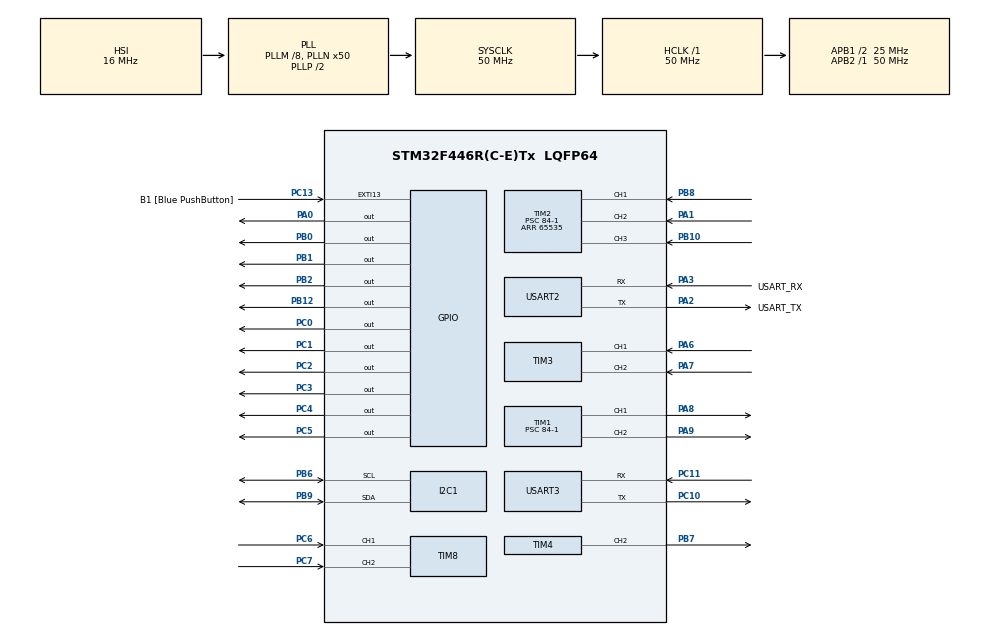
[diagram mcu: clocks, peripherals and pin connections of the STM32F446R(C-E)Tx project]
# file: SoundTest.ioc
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Mcu.Family=STM32F4
Mcu.Name=STM32F446R(C-E)Tx
Mcu.Package=LQFP64
NVIC.PriorityGroup=NVIC_PRIORITYGROUP_0
NVIC.TIM1_BRK_TIM9_IRQn=true\:0\:0\:false\:false\:true\:true\:true\:true
NVIC.TIM1_UP_TIM10_IRQn=true\:0\:0\:false\:false\:true\:true\:true\:true
NVIC.TIM2_IRQn=true\:0\:0\:false\:false\:true\:true\:true\:true
NVIC.USART2_IRQn=true\:0\:0\:false\:false\:true\:true\:true\:true
NVIC.USART3_IRQn=true\:0\:0\:false\:false\:true\:true\:true\:true
PA0-WKUP.Signal=GPIO_Output
PA1.Signal=S_TIM2_CH2
PA13.GPIO_Label=TMS
PA13.Mode=Serial_Wire
PA13.Signal=SYS_JTMS-SWDIO
PA14.GPIO_Label=TCK
PA14.Mode=Serial_Wire
PA14.Signal=SYS_JTCK-SWCLK
PA2.GPIO_Label=USART_TX
PA2.Mode=Asynchronous
PA2.Signal=USART2_TX
PA3.GPIO_Label=USART_RX
PA3.Mode=Asynchronous
PA3.Signal=USART2_RX
PA6.Signal=S_TIM3_CH1
PA7.Signal=S_TIM3_CH2
PA8.Signal=S_TIM1_CH1
PA9.Signal=S_TIM1_CH2
PB0.Signal=GPIO_Output
PB1.Signal=GPIO_Output
PB10.Signal=S_TIM2_CH3
PB12.Signal=GPIO_Output
PB2.Signal=GPIO_Output
PB3.GPIO_Label=SWO
PB3.Signal=SYS_JTDO-SWO
PB6.Mode=I2C
PB6.Signal=I2C1_SCL
PB7.Signal=S_TIM4_CH2
PB8.Signal=S_TIM2_CH1_ETR
PB9.Mode=I2C
PB9.Signal=I2C1_SDA
PC0.Signal=GPIO_Output
PC1.Signal=GPIO_Output
PC10.Mode=Asynchronous
PC10.Signal=USART3_TX
PC11.Mode=Asynchronous
PC11.Signal=USART3_RX
PC13.GPIO_Label=B1 [Blue PushButton]
PC13.GPIO_ModeDefaultEXTI=GPIO_MODE_IT_FALLING
PC13.Signal=GPXTI13
PC14-OSC32_IN.Mode=LSE-External-Oscillator
PC14-OSC32_IN.Signal=RCC_OSC32_IN
PC15-OSC32_OUT.Mode=LSE-External-Oscillator
PC15-OSC32_OUT.Signal=RCC_OSC32_OUT
PC2.Signal=GPIO_Output
PC3.Signal=GPIO_Output
PC4.Signal=GPIO_Output
PC5.Signal=GPIO_Output
PC6.Signal=S_TIM8_CH1
PC7.Signal=S_TIM8_CH2
PH0-OSC_IN.Mode=HSE-External-Oscillator
PH0-OSC_IN.Signal=RCC_OSC_IN
PH1-OSC_OUT.Mode=HSE-External-Oscillator
PH1-OSC_OUT.Signal=RCC_OSC_OUT
ProjectManager.HeapSize=0x200
ProjectManager.StackSize=0x400
ProjectManager.TargetToolchain=STM32CubeIDE
RCC.48MHZClocksFreq_Value=84000000
RCC.AHBFreq_Value=50000000
RCC.APB1CLKDivider=RCC_HCLK_DIV2
RCC.APB1Freq_Value=25000000
RCC.APB1TimFreq_Value=50000000
RCC.APB2Freq_Value=50000000
RCC.APB2TimFreq_Value=50000000
RCC.CortexFreq_Value=50000000
RCC.FLatency-AdvancedSettings=FLASH_LATENCY_1
RCC.HCLKFreq_Value=50000000
RCC.HSE_VALUE=8000000
RCC.HSI_VALUE=16000000
RCC.PLLM=8
RCC.PLLN=50
RCC.SYSCLKFreq_VALUE=50000000
RCC.SYSCLKSource=RCC_SYSCLKSOURCE_PLLCLK
RCC.USBFreq_Value=50000000
RCC.VCOOutputFreq_Value=100000000
SH.S_TIM1_CH1.0=TIM1_CH1,PWM Generation1 CH1
SH.S_TIM1_CH2.0=TIM1_CH2,PWM Generation2 CH2
SH.S_TIM2_CH1_ETR.0=TIM2_CH1,Input_Capture1_from_TI1
SH.S_TIM2_CH2.0=TIM2_CH2,Input_Capture2_from_TI2
SH.S_TIM2_CH3.0=TIM2_CH3,Input_Capture3_from_TI3
SH.S_TIM3_CH1.0=TIM3_CH1,Encoder_Interface
SH.S_TIM3_CH2.0=TIM3_CH2,Encoder_Interface
SH.S_TIM4_CH2.0=TIM4_CH2,PWM Generation2 CH2
SH.S_TIM8_CH1.0=TIM8_CH1,Encoder_Interface
SH.S_TIM8_CH2.0=TIM8_CH2,Encoder_Interface
TIM1.Channel-PWM\ Generation1\ CH1=TIM_CHANNEL_1
TIM1.Channel-PWM\ Generation2\ CH2=TIM_CHANNEL_2
TIM1.Period=999
TIM1.Prescaler=84-1
TIM2.Channel-Input_Capture1_from_TI1=TIM_CHANNEL_1
TIM2.Channel-Input_Capture2_from_TI2=TIM_CHANNEL_2
TIM2.Channel-Input_Capture3_from_TI3=TIM_CHANNEL_3
TIM2.Period=65535
TIM2.Prescaler=84-1
TIM4.Channel-PWM\ Generation2\ CH2=TIM_CHANNEL_2
TIM4.Prescaler=84-1
USART2.VirtualMode=VM_ASYNC
USART3.VirtualMode=VM_ASYNC
VP_TIM1_VS_ClockSourceINT.Mode=Internal
VP_TIM2_VS_ClockSourceINT.Mode=Internal
board=NUCLEO-F446RE

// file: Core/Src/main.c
/* USER CODE BEGIN Header */
/**
  ******************************************************************************
  * @file           : main.c
  * @brief          : Main program body
  ******************************************************************************
  * @attention
  *
  * Copyright (c) 2025 STMicroelectronics.
  * All rights reserved.
  *
  * This software is licensed under terms that can be found in the LICENSE file
  * in the root directory of this software component.
  * If no LICENSE file comes with this software, it is provided AS-IS.
  *
  ******************************************************************************
  */
/* USER CODE END Header */
#include "main.h"

/* USER CODE BEGIN Includes */
#include <stdio.h>    // printf, sprintf 사용을 위해
#include <stdarg.h>   // 가변 인자 사용을 위해
#include <math.h>
//#include "ESP8266_HAL.h"
#include <string.h>   // strlen 사용을 위해
#include "stm32f4xx_hal.h" // HAL 함수 사용을 위해

/* USER CODE END Includes */

/* USER CODE BEGIN PD */
// HC-SR04 핀 정의
#define TRIG_PIN    GPIO_PIN_0
#define TRIG_PORT    GPIOC
#define ECHO_PIN    GPIO_PIN_1
#define ECHO_PORT    GPIOA

#define TRIG_PIN1    GPIO_PIN_1
#define TRIG_PORT1    GPIOC
#define ECHO_PIN1    GPIO_PIN_8
#define ECHO_PORT1    GPIOB

#define TRIG_PIN2    GPIO_PIN_2
#define TRIG_PORT2    GPIOC
#define ECHO_PIN2    GPIO_PIN_10
#define ECHO_PORT2    GPIOB

uint8_t rx_data[100];

#define WIZFI360_MAX_RESPONSE_SIZE 512
uint8_t wizfi_rx_buffer[WIZFI360_MAX_RESPONSE_SIZE];

// 클럭 설정 (SystemClock_Config 기준 HCLK = 84MHz)
// 1초 = 84,000,000 사이클 -> 1us = 84 사이클
#define DWT_DELAY_UNIT (HAL_RCC_GetHCLKFreq() / 1000000)

// HC-SR04 관련 상수
#define SOUND_SPEED_CM_PER_US 0.0343 // 음속: 343m/s = 0.0343 cm/us
#define MAX_TIMEOUT_US 30000 // 30ms (HC-SR04 최대 측정 거리 고려)

// 모터 1 (A) - ENA: TIM1_CH1 (PA8)
// 방향 핀
#define M1_IN1_PORT GPIOB
#define M1_IN1_PIN  GPIO_PIN_0
#define M1_IN2_PORT GPIOB
#define M1_IN2_PIN  GPIO_PIN_1

// 모터 2 (B) - ENB: TIM1_CH2 (PA9)
// 방향 핀
#define M2_IN1_PORT GPIOB
#define M2_IN1_PIN  GPIO_PIN_2
#define M2_IN2_PORT GPIOB
#define M2_IN2_PIN  GPIO_PIN_12

// 모터 3 (A) - ENA: TIM4_CH1 (Pb6)
#define M3_IN1_PORT GPIOC
#define M3_IN1_PIN  GPIO_PIN_3
#define M3_IN2_PORT GPIOC
#define M3_IN2_PIN  GPIO_PIN_4

// 모터 ID 및 방향 정의
#define MOTOR_A     1
#define MOTOR_B     2
#define MOTOR_C     3

#define FORWARD     1
#define BACKWARD    2
#define RIGHT    3 // 우회전
#define LEFT      4 // 좌회전 (필요시)
#define STOP        0

// PWM 최대값 (CubeMX TIM1 ARR 설정에 따라 변경될 수 있음. 여기서는 1000 가정)
#define PWM_MAX_VALUE 1000

// 벽 감지 임계 거리 (센티미터 단위)
#define WALL_DISTANCE_THRESHOLD 30.0f
// 직진 속도 및 회전 속도 (PWM 값)
#define BASE_SPEED          300
#define TURN_SPEED          300
// 회전 시간 상수 (90도 회전에 필요한 시간, 보정 필요)
#define TURN_90_TIME_MS     3200 // (모터와 바퀴에 따라 크게 달라짐)
// 유턴 시 전진/후진 거리 시간 (본체 폭만큼 이동하기 위한 시간, 보정 필요)
#define BODY_MOVE_TIME_MS   800 // 예시 값 (본체 폭에 따라 조절)

#define MPU6050_ADDR  (0x68 << 1)
#define PWR_MGMT_1    0x6B
#define ACCEL_XOUT_H  0x3B

//Odometry 상수
#define WHEEL_RADIUS_MM     30      // 바퀴 반지름 (mm)
#define ROBOT_AXLE_LENGTH_MM 160    // 바퀴 축 간 거리 (mm)
#define ENCODER_RESOLUTION  1000    // 엔코더 해상도 (펄스 수)
#define TIMER_PERIOD        65536   // TIM3/TIM8 주기

/* USER CODE END PD */

I2C_HandleTypeDef hi2c1;

TIM_HandleTypeDef htim1;
TIM_HandleTypeDef htim2;
TIM_HandleTypeDef htim3;
TIM_HandleTypeDef htim4;
TIM_HandleTypeDef htim8;

UART_HandleTypeDef huart2;
UART_HandleTypeDef huart3;

/* USER CODE BEGIN PV */
TIM_HandleTypeDef htim2;
//2D 맵핑용 위치변수
float g_robot_x = 0.0f;     // 현재의 X 좌표
float g_robot_y = 0.0f;     // 현재의 Y 좌표
float g_robot_yaw = 0.0f;   // 현재의 방향 각도 (단위: 도 Degree)

// MQTT control 상태 변수
int g_powerOn = -1;          // 0 = OFF, 1 = ON
int g_fanSpeed = -1;         // 0~3
int g_modeManual = -1;       // 0 = AUTO, 1 = MANUAL
char g_direction[8] = "NULL";  // "FWD","BACK","LEFT","RIGHT","STOP"

// MQTT 수신 라인 버퍼
char mqtt_rx_buf[256];
int  mqtt_rx_len = 0;

/* USER CODE END PV */

void SystemClock_Config(void);
static void MX_GPIO_Init(void);
static void MX_USART2_UART_Init(void);
static void MX_TIM2_Init(void);
static void MX_TIM1_Init(void);
static void MX_TIM4_Init(void);
static void MX_I2C1_Init(void);
static void MX_USART3_UART_Init(void);
static void MX_TIM3_Init(void);
static void MX_TIM8_Init(void);
/* USER CODE BEGIN PFP */
void DWT_Init(void);
void DWT_Delay_us(uint32_t us);
float HCSR04_Read(GPIO_TypeDef *trigPort, uint16_t trigPin,
                  GPIO_TypeDef *echoPort, uint16_t echoPin);
void UART_Printf(const char *format, ...);

uint8_t rx[512];

/* USER CODE END PFP */

/* USER CODE BEGIN 0 */

/**
  * @brief DWT (Data Watchpoint and Trace) 초기화 함수
  * @retval None
  */

int _write(int file, char *ptr, int len)   // UART_Printf를 위한 retarget
{
    HAL_UART_Transmit(&huart3, (uint8_t*)ptr, len, 100);
    return len;
}

void DWT_Init(void) {
    // TRCENA 활성화 (DWT 활성화)
    CoreDebug->DEMCR |= CoreDebug_DEMCR_TRCENA_Msk;
    // CYCCNT 카운터 초기화
    DWT->CYCCNT = 0;
    // CYCCNT 카운터 활성화
    DWT->CTRL |= DWT_CTRL_CYCCNTENA_Msk;
}

/**
  * @brief DWT 기반 마이크로초 지연 함수
  * @param us: 지연할 마이크로초
  * @retval None
  */
void DWT_Delay_us(uint32_t us) {
    uint32_t start_tick = DWT->CYCCNT;
    uint32_t delay_ticks = us * DWT_DELAY_UNIT;
    while ((DWT->CYCCNT - start_tick) < delay_ticks);
}

/**
  * @brief UART2를 이용한 printf 함수
  * @param format: 출력 형식 문자열
  * @retval None
  */
void UART_Printf(const char *format, ...) {
    char str[100];
    va_list args;
    va_start(args, format);
    vsprintf(str, format, args);
    va_end(args);
    // UART 전송 (Blocking 모드)
    HAL_UART_Transmit(&huart2, (uint8_t *)str, strlen(str), HAL_MAX_DELAY);
}

/**
  * @brief HC-SR04 거리 측정 함수
  * @retval 측정 거리 (cm), 실패 시 -1.0
  */
float HCSR04_Read(GPIO_TypeDef *trigPort, uint16_t trigPin,
                  GPIO_TypeDef *echoPort, uint16_t echoPin)
{
    uint32_t start_time, end_time, duration_cycles;

    HAL_GPIO_WritePin(trigPort, trigPin, GPIO_PIN_RESET);
    DWT_Delay_us(2);

    HAL_GPIO_WritePin(trigPort, trigPin, GPIO_PIN_SET);
    DWT_Delay_us(10);
    HAL_GPIO_WritePin(trigPort, trigPin, GPIO_PIN_RESET);

    start_time = DWT->CYCCNT;
    while (HAL_GPIO_ReadPin(echoPort, echoPin) == GPIO_PIN_RESET) {
        if ((DWT->CYCCNT - start_time) > (MAX_TIMEOUT_US * DWT_DELAY_UNIT))
            return -1.0f;
    }

    start_time = DWT->CYCCNT;
    while (HAL_GPIO_ReadPin(echoPort, echoPin) == GPIO_PIN_SET) {
        if ((DWT->CYCCNT - start_time) > (MAX_TIMEOUT_US * DWT_DELAY_UNIT))
            return -1.0f;
    }

    end_time = DWT->CYCCNT;
    duration_cycles = end_time - start_time;

    float distance = ((float)duration_cycles / (float)DWT_DELAY_UNIT)
                     * SOUND_SPEED_CM_PER_US / 2.0f;

    return distance;
}

/* 안전한 방향 제어 함수 */
void set_motor_direction(uint8_t motor_id, uint8_t direction)
{
    GPIO_TypeDef *in1_port = NULL, *in2_port = NULL;
    uint16_t in1_pin = 0, in2_pin = 0;

    if (motor_id == MOTOR_A) {
        in1_port = M1_IN1_PORT;
        in2_port = M1_IN2_PORT;
        in1_pin  = M1_IN1_PIN;
        in2_pin  = M1_IN2_PIN;
    } else if (motor_id == MOTOR_B) {
        in1_port = M2_IN1_PORT;
        in2_port = M2_IN2_PORT;
        in1_pin  = M2_IN1_PIN;
        in2_pin  = M2_IN2_PIN;
    }else if (motor_id == MOTOR_C) {
        in1_port = M3_IN1_PORT;
        in2_port = M3_IN2_PORT;
        in1_pin  = M3_IN1_PIN;
        in2_pin  = M3_IN2_PIN;
    }
    else {
        return;
    }

    if (direction == FORWARD) {
        HAL_GPIO_WritePin(in1_port, in1_pin, GPIO_PIN_SET);
        HAL_GPIO_WritePin(in2_port, in2_pin, GPIO_PIN_RESET);

    } else if (direction == BACKWARD) {
        HAL_GPIO_WritePin(in1_port, in1_pin, GPIO_PIN_RESET);
        HAL_GPIO_WritePin(in2_port, in2_pin, GPIO_PIN_SET);
    }
    else if (direction == BACKWARD) {
           HAL_GPIO_WritePin(in1_port, in1_pin, GPIO_PIN_RESET);
           HAL_GPIO_WritePin(in2_port, in2_pin, GPIO_PIN_SET);
       }
    else { // STOP (coast)
        HAL_GPIO_WritePin(in1_port, in1_pin, GPIO_PIN_RESET);
        HAL_GPIO_WritePin(in2_port, in2_pin, GPIO_PIN_RESET);
    }
}

/* 속도 설정은 그대로 사용하되 PWM_MAX와 TIM1 ARR 일치 확인 필요 */
void set_motor_speed(uint8_t motor_id, uint16_t speed)
{
    if (speed > PWM_MAX_VALUE) speed = PWM_MAX_VALUE;

    if (motor_id == MOTOR_A) {
        __HAL_TIM_SET_COMPARE(&htim1, TIM_CHANNEL_1, speed);
    } else if (motor_id == MOTOR_B) {
        __HAL_TIM_SET_COMPARE(&htim1, TIM_CHANNEL_2, speed);
    } else if (motor_id == MOTOR_C) {
        __HAL_TIM_SET_COMPARE(&htim4, TIM_CHANNEL_1, speed);
    }

}

/* --- 모터 제어 유틸 함수 추가 --- */
void stop_all_motors(void)
{
    set_motor_speed(MOTOR_A, 0);
    set_motor_speed(MOTOR_B, 0);
    set_motor_speed(MOTOR_C, 0);

    set_motor_direction(MOTOR_A, STOP);
    set_motor_direction(MOTOR_B, STOP);
    set_motor_direction(MOTOR_C, STOP);
}

void move_forward_pwm(uint16_t pwm)
{
    set_motor_direction(MOTOR_A, FORWARD);
    set_motor_direction(MOTOR_B, FORWARD);
    set_motor_speed(MOTOR_A, pwm);
    set_motor_speed(MOTOR_B, pwm);
}

void move_backward_pwm(uint16_t pwm)
{
    set_motor_direction(MOTOR_A, BACKWARD);
    set_motor_direction(MOTOR_B, BACKWARD);
    set_motor_speed(MOTOR_A, pwm);
    set_motor_speed(MOTOR_B, pwm);
}

void rotate_right_inplace(uint16_t pwm) // 오른쪽으로 제자리 회전 (좌/우 휠 반대방향)
{
    // 왼쪽 앞바퀴 전진, 오른쪽 바퀴 후진 -> 우회전
    set_motor_direction(MOTOR_A, FORWARD);   // 왼쪽
    set_motor_direction(MOTOR_B, BACKWARD);  // 오른쪽
    set_motor_speed(MOTOR_A, pwm);
    set_motor_speed(MOTOR_B, pwm);
}

void rotate_left_inplace(uint16_t pwm) // 왼쪽으로 제자리 회전
{
    set_motor_direction(MOTOR_A, BACKWARD);
    set_motor_direction(MOTOR_B, FORWARD);
    set_motor_speed(MOTOR_A, pwm);
    set_motor_speed(MOTOR_B, pwm);
}

/* 간단한 유턴: 제자리 180도 회전 (두번 90도) */
void perform_u_turn(void)
{
    // 180도: 두 번 90도 회전
    rotate_right_inplace(TURN_SPEED);
    HAL_Delay(TURN_90_TIME_MS);
    stop_all_motors();
    HAL_Delay(100);

    rotate_right_inplace(TURN_SPEED);
    HAL_Delay(TURN_90_TIME_MS);
    stop_all_motors();
    HAL_Delay(100);
}

/* 장애물 발견 시 회피 시퀀스:
   1) 정지
   2) 백업(짧게)
   3) 제자리 회전 90도 (우회전)
   4) 전진 (몸체 폭 만큼)
   5) 유턴(180)으로 라인 닫기(옵션)
*/
void R_avoidance_sequence(void)
{
    // 1) 정지
    stop_all_motors();
    HAL_Delay(50);

    // 2) 백업
    move_backward_pwm(BASE_SPEED);
    HAL_Delay(300); // 300ms 뒤로 (조정 필요)
    stop_all_motors();
    HAL_Delay(50);

    // 3) 제자리 우회전 90도
    rotate_right_inplace(TURN_SPEED);
    HAL_Delay(TURN_90_TIME_MS);
    stop_all_motors();
    HAL_Delay(50);

    // 4) 전진으로 통과
    move_forward_pwm(BASE_SPEED);
    HAL_Delay(BODY_MOVE_TIME_MS);
    stop_all_motors();
    HAL_Delay(50);

    // 3) 제자리 우회전 90도
        rotate_right_inplace(TURN_SPEED);
        HAL_Delay(TURN_90_TIME_MS);
        stop_all_motors();
        HAL_Delay(50);

}

void L_avoidance_sequence(void)
{
    // 1) 정지
    stop_all_motors();
    HAL_Delay(50);

    // 2) 백업
    move_backward_pwm(BASE_SPEED);
    HAL_Delay(300); // 300ms 뒤로 (조정 필요)
    stop_all_motors();
    HAL_Delay(50);

    // 3) 제자리 좌회전 90도
    rotate_left_inplace(TURN_SPEED);
    HAL_Delay(TURN_90_TIME_MS);
    stop_all_motors();
    HAL_Delay(50);

    // 4) 전진으로 통과
    move_forward_pwm(BASE_SPEED);
    HAL_Delay(BODY_MOVE_TIME_MS);
    stop_all_motors();
    HAL_Delay(50);

    // 3) 제자리 좌회전 90도
        rotate_left_inplace(TURN_SPEED);
        HAL_Delay(TURN_90_TIME_MS);
        stop_all_motors();
        HAL_Delay(50);

}

/**
  * @brief 모터 제어를 위해 필요한 초기 설정을 수행합니다.
  * @retval None
  */
void motor_control_init(void)
{
    // 1. PWM 출력 시작 (PA8: ENA, PA9: ENB)
    HAL_TIM_PWM_Start(&htim1, TIM_CHANNEL_1);
    HAL_TIM_PWM_Start(&htim1, TIM_CHANNEL_2);
    HAL_TIM_PWM_Start(&htim4, TIM_CHANNEL_1);

    // 2. 초기 모터 방향 설정 (정지)
    set_motor_direction(MOTOR_A, STOP);
    set_motor_direction(MOTOR_B, STOP);
    set_motor_direction(MOTOR_C, STOP);

    // 3. 초기 모터 속도 설정 (0)
    set_motor_speed(MOTOR_A, 0);
    set_motor_speed(MOTOR_B, 0);
    set_motor_speed(MOTOR_C, 0);

}

void MPU6050_Init(void) {
    uint8_t check;
    uint8_t data;

    // WHO_AM_I register read
    HAL_I2C_Mem_Read(&hi2c1, MPU6050_ADDR, 0x75, 1, &check, 1, 1000);

    if (check == 104) {  // 0x68
        data = 0;
        HAL_I2C_Mem_Write(&hi2c1, MPU6050_ADDR, PWR_MGMT_1, 1, &data, 1, 1000);
    }
}

void MPU6050_Read_Accel(int16_t *Ax, int16_t *Ay, int16_t *Az) {
    uint8_t Rec_Data[6];
    HAL_I2C_Mem_Read(&hi2c1, MPU6050_ADDR, ACCEL_XOUT_H, 1, Rec_Data, 6, 1000);

    *Ax = (int16_t)(Rec_Data[0] << 8 | Rec_Data[1]);
    *Ay = (int16_t)(Rec_Data[2] << 8 | Rec_Data[3]);
    *Az = (int16_t)(Rec_Data[4] << 8 | Rec_Data[5]);
}

// 엔코더 카운터 추적 변수 (이전 값과의 차이를 계산하기 위함)
static int prev_enc_L = 0;    // 이전 왼쪽 엔코더 값 (TIM3 카운터)
static int prev_enc_R = 0;    // 이전 오른쪽 엔코더 값 (TIM8 카운터)

/**
  * 엔코더 및 IMU를 이용해 로봇의 현재 위치(x, y, yaw)를 정수 단위로 업데이트합니다.
  */
void update_odometry(void)
{
   const float PI = 3.1415926535f;
       const int PERIOD = TIMER_PERIOD; // 65536

       // 1. 엔코더 카운터 값 읽기
       int current_enc_L = (int)__HAL_TIM_GET_COUNTER(&htim3);
       int current_enc_R = (int)__HAL_TIM_GET_COUNTER(&htim8);

       // 2. 카운터 변화량 계산 (Delta Pulse) - 랩어라운드 처리 적용
       int delta_L_pulse = current_enc_L - prev_enc_L;
       int delta_R_pulse = current_enc_R - prev_enc_R;

       //  랩어라운드 처리
       if (delta_L_pulse > (PERIOD / 2)) {
           delta_L_pulse -= PERIOD; // 언더플로우 발생 시
       } else if (delta_L_pulse < -(PERIOD / 2)) {
           delta_L_pulse += PERIOD; // 오버플로우 발생 시
       }

       if (delta_R_pulse > (PERIOD / 2)) {
           delta_R_pulse -= PERIOD;
       } else if (delta_R_pulse < -(PERIOD / 2)) {
           delta_R_pulse += PERIOD;
       }

       prev_enc_L = current_enc_L;
       prev_enc_R = current_enc_R;

       // 3. 펄스 변화량을 실제 이동 거리(mm)로 변환
       float distance_L_mm = (float)delta_L_pulse / ENCODER_RESOLUTION * (2.0f * PI * WHEEL_RADIUS_MM);
       float distance_R_mm = (float)delta_R_pulse / ENCODER_RESOLUTION * (2.0f * PI * WHEEL_RADIUS_MM);

       // 평균 이동 거리 및 각도 변화 계산
       float distance_center_mm = (distance_R_mm + distance_L_mm) / 2.0f;
       float delta_theta_rad = (distance_R_mm - distance_L_mm) / ROBOT_AXLE_LENGTH_MM; // 회전 각도(라디안)

       // 4. 좌표 (X, Y) 및 방향 (Yaw) 업데이트 (Middle Point 적분 방식 적용)

       // 4-1. 현재 Yaw를 라디안으로 변환
       float current_yaw_rad = g_robot_yaw * PI / 180.0f;

       // 4-2. 중간 각도 (Average Yaw) 계산: X, Y 계산에 사용 (정확도 향상)
       float avg_yaw_rad = current_yaw_rad + delta_theta_rad / 2.0f;

       // 4-3. X, Y 좌표 업데이트
       float delta_x = distance_center_mm * cosf(avg_yaw_rad);
       float delta_y = distance_center_mm * sinf(avg_yaw_rad);

       g_robot_x += delta_x;
       g_robot_y += delta_y;

       // 4-4. Yaw 각도 업데이트 및 정규화
       float next_yaw_rad = current_yaw_rad + delta_theta_rad;
       g_robot_yaw = next_yaw_rad * 180.0f / PI;

       // Yaw 각도 정규화 (0~359.999도)
       while (g_robot_yaw >= 360.0f) g_robot_yaw -= 360.0f;
       while (g_robot_yaw < 0.0f) g_robot_yaw += 360.0f;
}

void Send_AT_Command(UART_HandleTypeDef *huart_wiz, UART_HandleTypeDef *huart_term, const char *command, uint8_t *response_buffer, uint16_t buffer_size, uint32_t timeout)
{
    // 1. 터미널(huart_term, PuTTY)로 전송할 명령 표시
    char tx_log[64];
    int len = snprintf(tx_log, sizeof(tx_log), "\r\n[CMD] Sending: %s\r\n", command);
    HAL_UART_Transmit(huart_term, (uint8_t *)tx_log, len, HAL_MAX_DELAY);

    // 2. WizFi360 (huart_wiz)에 명령 전송 (명령어 끝에 CR+LF(\r\n) 필수)
    char cmd_with_crlf[128];
    snprintf(cmd_with_crlf, sizeof(cmd_with_crlf), "%s\r\n", command);
    HAL_UART_Transmit(huart_wiz, (uint8_t *)cmd_with_crlf, strlen(cmd_with_crlf), 500);

    // 3. 응답 수신 준비
    memset(response_buffer, 0, buffer_size); // 버퍼 초기화
    uint16_t index = 0;
    uint32_t start_tick = HAL_GetTick();

    // 4. WizFi360으로부터 응답 수신 (간단한 타임아웃 폴링 방식)
    while ((HAL_GetTick() - start_tick) < timeout)
    {
        uint8_t rx_byte;
        // HAL_UART_Receive는 지정된 타임아웃 내에 1바이트를 수신합니다.
        if (HAL_UART_Receive(huart_wiz, &rx_byte, 1, 100) == HAL_OK)
        {
            if (index < buffer_size - 1)
            {
                response_buffer[index++] = rx_byte;
            }
            // 새로운 바이트를 수신할 때마다 타임아웃을 연장합니다.
            start_tick = HAL_GetTick();
        }
    }

    // 5. 수신된 응답을 터미널(huart_term, PuTTY)로 출력
    char *rx_header = "[RSP] Response Received:\r\n";
    HAL_UART_Transmit(huart_term, (uint8_t *)rx_header, strlen(rx_header), HAL_MAX_DELAY);

    MQTT_ProcessResponseBuffer(response_buffer, index);

    // 수신된 raw 데이터를 그대로 터미널로 출력
    HAL_UART_Transmit(huart_term, response_buffer, index, HAL_MAX_DELAY);

    char *rx_footer = "\r\n[END] ----------------------------------\r\n";
    HAL_UART_Transmit(huart_term, (uint8_t *)rx_footer, strlen(rx_footer), HAL_MAX_DELAY);
}

// WizFi360에 AT 문자열만 보내고, 응답은 읽지 않는 버전 publish와 subscribe 시, 버퍼를 공동으로 사용하여 충돌 일어나는 걸
// 방지하기 위해서 별도로 꼭 필요하다.
void WizFi_SendOnly(UART_HandleTypeDef *huart_wiz,
                    UART_HandleTypeDef *huart_term,
                    const char *command)
{
    // 디버깅용으로 어떤 명령 보냈는지 터미널에만 찍고
    char tx_log[64];
    int len = snprintf(tx_log, sizeof(tx_log),
                       "\r\n[CMD-TX] %s\r\n", command);
    HAL_UART_Transmit(huart_term, (uint8_t *)tx_log, len, HAL_MAX_DELAY);

    // WizFi360으로 명령 전송
    char cmd_with_crlf[128];
    snprintf(cmd_with_crlf, sizeof(cmd_with_crlf), "%s\r\n", command);
    HAL_UART_Transmit(huart_wiz,
                      (uint8_t *)cmd_with_crlf,
                      strlen(cmd_with_crlf),
                      500);
}

// 현재 control 상태를 PuTTY(USART2)에 출력하는 디버그용 함수
static void Debug_PrintControlState(const char *topic, const char *json)
{
    char buf[160];

    int len = snprintf(buf, sizeof(buf),
                       "\r\n[CONTROL] topic = %s\r\n"
                       "          json  = %s\r\n"
                       "          power = %d, speed = %d, mode = %d, dir = %s\r\n",
                       topic,
                       json,
                       g_powerOn,
                       g_fanSpeed,
                       g_modeManual,
                       g_direction);

    HAL_UART_Transmit(&huart2, (uint8_t *)buf, len, HAL_MAX_DELAY);
}

/*
void Setup_WiFi_And_MQTT(void)
{
    // 1. Wi-Fi 연결
    Send_AT_Command(&huart3, &huart2, "AT+CWJAP=\"S24\",\"dial8787@@\"", wizfi_rx_buffer, WIZFI360_MAX_RESPONSE_SIZE, 8000);
    HAL_Delay(5000);

    // 2. TCP 연결 (로컬 Mosquitto 브로커)
    Send_AT_Command(&huart3, &huart2, "AT+CIPSTART=\"TCP\",\"192.168.178.61\",1883", wizfi_rx_buffer, WIZFI360_MAX_RESPONSE_SIZE, 5000);
    HAL_Delay(3000);

    // 3. MQTT 연결 설정 (User/Password/ClientID/KeepAlive)
    // 브로커 인증이 없으면 "" 사용
    Send_AT_Command(&huart3, &huart2, "AT+MQTTSET=\"\",\"\",\"STM32Client\",300", wizfi_rx_buffer, WIZFI360_MAX_RESPONSE_SIZE, 2000);
    HAL_Delay(1000);

    // 4. MQTT 토픽 설정
    // Publish: "vibeclean/robot1/telemetry", Subscribe: "vibeclean/robot1/control/#"
    Send_AT_Command(&huart3, &huart2,
        "AT+MQTTTOPIC=\"vibeclean/robot1/telemetry\",\"vibeclean/robot1/control/#\"",
        wizfi_rx_buffer, WIZFI360_MAX_RESPONSE_SIZE, 2000);

    // 4-1. Publish QoS 설정 (예: QoS1)
    Send_AT_Command(&huart3, &huart2, "AT+MQTTQOS=1", wizfi_rx_buffer, WIZFI360_MAX_RESPONSE_SIZE, 1000);
    HAL_Delay(500);

    // 5. MQTT CONNECT (Single connection, 인증 없음)
    Send_AT_Command(&huart3, &huart2, "AT+MQTTCON=0,\"192.168.178.61\",1883", wizfi_rx_buffer, WIZFI360_MAX_RESPONSE_SIZE, 5000);
    HAL_Delay(3000);

    // 6. MQTT 구독 (토픽은 이미 AT+MQTTTOPIC로 설정)
    Send_AT_Command(&huart3, &huart2, "AT+MQTTSUB", wizfi_rx_buffer, WIZFI360_MAX_RESPONSE_SIZE, 3000);
    HAL_Delay(1000);
}
*/

// -----------------------------------------------------
// MQTT 초기화용 공용 AT 명령 함수들
// -----------------------------------------------------

uint8_t MQTT_SetConfig(
    UART_HandleTypeDef *huart_wiz,
    UART_HandleTypeDef *huart_term,
    const char *user,
    const char *pass,
    const char *clientID,
    int aliveTime,
    uint8_t *resp, uint16_t resp_size
) {
    char cmd[256];
    snprintf(cmd, sizeof(cmd),
             "AT+MQTTSET=\"%s\",\"%s\",\"%s\",%d",
             user, pass, clientID, aliveTime);

    Send_AT_Command(huart_wiz, huart_term, cmd, resp, resp_size, 3000);
    return strstr((char*)resp, "OK") != NULL;
}

uint8_t MQTT_SetTopics(
    UART_HandleTypeDef *huart_wiz,
    UART_HandleTypeDef *huart_term,
    const char *pubTopic,
    const char *subTopic,
    uint8_t *resp, uint16_t resp_size
) {
    char cmd[256];
    snprintf(cmd, sizeof(cmd),
             "AT+MQTTTOPIC=\"%s\",\"%s\"",
             pubTopic, subTopic);

    Send_AT_Command(huart_wiz, huart_term, cmd, resp, resp_size, 3000);
    return strstr((char*)resp, "OK") != NULL;
}

uint8_t MQTT_SetQos(
    UART_HandleTypeDef *huart_wiz,
    UART_HandleTypeDef *huart_term,
    int qos,
    uint8_t *resp, uint16_t resp_size
) {
    char cmd[32];
    snprintf(cmd, sizeof(cmd), "AT+MQTTQOS=%d", qos);

    Send_AT_Command(huart_wiz, huart_term, cmd, resp, resp_size, 2000);
    return strstr((char*)resp, "OK") != NULL;
}

uint8_t MQTT_ConnectBroker(
    UART_HandleTypeDef *huart_wiz,
    UART_HandleTypeDef *huart_term,
    const char *brokerIP,
    int port,
    uint8_t *resp, uint16_t resp_size
) {
    char cmd[128];
    snprintf(cmd, sizeof(cmd),
             "AT+MQTTCON=0,\"%s\",%d",
             brokerIP, port);

    Send_AT_Command(huart_wiz, huart_term, cmd, resp, resp_size, 6000);

    return strstr((char*)resp, "CONNECT") || strstr((char*)resp, "OK");
}

uint8_t MQTT_PublishJSON(
    UART_HandleTypeDef *huart_wiz,
    UART_HandleTypeDef *huart_term,
    const char *jsonMsg,
    uint8_t *resp, uint16_t resp_size
) {
    char cmd[256];
    snprintf(cmd, sizeof(cmd),
             "AT+MQTTPUB=\"%s\"", jsonMsg);

    //Send_AT_Command(huart_wiz, huart_term, cmd, resp, resp_size, 3000);
    WizFi_SendOnly(huart_wiz, huart_term, cmd);
    //return strstr((char*)resp, "OK") != NULL;
    return 1;
}

uint8_t MQTT_Init_All(
    UART_HandleTypeDef *huart_wiz,
    UART_HandleTypeDef *huart_term
){
    uint8_t resp[512];

    // -------- Wi-Fi 연결 --------
    Send_AT_Command(huart_wiz, huart_term, "AT", resp, sizeof(resp), 1000);
    Send_AT_Command(huart_wiz, huart_term, "AT+RST", resp, sizeof(resp), 5000);
    Send_AT_Command(huart_wiz, huart_term, "AT+CWMODE=1", resp, sizeof(resp), 2000);

    // WiFi 접속
    Send_AT_Command(huart_wiz, huart_term,
        "AT+CWJAP=\"S24\",\"dial8787@@\"",
        resp, sizeof(resp), 15000);

    // -------- MQTT 설정 --------
    if (!MQTT_SetConfig(huart_wiz, huart_term,
                        "", "", "vibeclean01", 300,
                        resp, sizeof(resp))) return 0;

    if (!MQTT_SetTopics(huart_wiz, huart_term,
                        "vibeclean/robot1/telemetry",
                        "vibeclean/robot1/control/#",
                        resp, sizeof(resp))) return 0;

    if (!MQTT_SetQos(huart_wiz, huart_term, 0, resp, sizeof(resp)))
        return 0;

    if (!MQTT_ConnectBroker(huart_wiz, huart_term,
                            "192.168.178.61", 1883,
                            resp, sizeof(resp)))
        return 0;

    return 1;
}

void Publish_Message(void)
{
    char cmd[256];

    const char *json_message =
        "{\"currentFloor\":\"Carpet\",\"fanSpeed\":3,"
        "\"position\":{\"x\":10,\"y\":5},"
        "\"sensor\":{\"x\":0.1,\"y\":0.2,\"z\":0.3}}";

    // topic은 이미 AT+MQTTTOPIC로 설정되어 있으므로 메시지만 전달
    snprintf(cmd, sizeof(cmd), "AT+MQTTPUB=\"%s\"", json_message);
    Send_AT_Command(&huart3, &huart2, cmd, wizfi_rx_buffer, WIZFI360_MAX_RESPONSE_SIZE, 1000);
//    WizFi_SendOnly(&huart3, &huart2, cmd); //wizfi통해서 보내기만 하는 애
}

// 토픽과 JSON을 보고 상태 변수에 반영
void HandleControlJson(const char *topic, const char *json)
{
    if (strstr(topic, "control/power")) {
        if (strstr(json, "\"ON\""))  g_powerOn = 1;
        if (strstr(json, "\"OFF\"")) g_powerOn = 0;
    }
    else if (strstr(topic, "control/speed")) {
        int v = 0;
        // 숫자 하나만 뽑는 단순 파서 (예: {"fanSpeed":2})
        sscanf(json, "%*[^0-9]%d", &v);
        if (v < 0) v = 0;
        if (v > 3) v = 3;
        g_fanSpeed = v;
    }
    else if (strstr(topic, "control/mode")) {
        if (strstr(json, "\"MANUAL\"")) g_modeManual = 1;
        if (strstr(json, "\"AUTO\""))   g_modeManual = 0;
    }
    else if (strstr(topic, "control/direction")) {
        if (strstr(json, "\"FWD\""))   strcpy(g_direction, "FWD");
        else if (strstr(json, "\"BACK\""))  strcpy(g_direction, "BACK");
        else if (strstr(json, "\"LEFT\""))  strcpy(g_direction, "LEFT");
        else if (strstr(json, "\"RIGHT\"")) strcpy(g_direction, "RIGHT");
        else if (strstr(json, "\"STOP\""))  strcpy(g_direction, "STOP");
    }

    Debug_PrintControlState(topic, json);
}

// WizFi360이 보낸 한 줄(line)을 토픽 / json 으로 분리
void ParseMqttLine(char *line, int len)
{
    line[len] = '\0';

    // "topic->\"...\"" 형식에서 화살표 위치 찾기
    char *arrow = strstr(line, "->");
    if (!arrow) return;

    *arrow = '\0';
    char *topic = line;
    char *payload = arrow + 2;

    // 공백/따옴표 건너뛰기
    while (*payload == ' ' || *payload == '"' || *payload == '\r' || *payload == '\n')
        payload++;

    // JSON 시작 '{' 위치 찾기
    char *brace = strchr(payload, '{');
    if (!brace) return;

    char *end = strrchr(brace, '}');
    if (!end) return;
    *(end + 1) = '\0';   // JSON 문자열을 '\0'로 끝나게

    HandleControlJson(topic, brace);
}

// WizFi360으로부터 들어오는 subscribe 메시지 처리
void MQTT_ProcessIncoming(void)
{
    uint8_t ch;

    // timeout=0 으로 non-blocking 폴링
    while (HAL_UART_Receive(&huart3, &ch, 1, 0) == HAL_OK) {
        if (mqtt_rx_len < (int)sizeof(mqtt_rx_buf) - 1) {
            mqtt_rx_buf[mqtt_rx_len++] = (char)ch;
            mqtt_rx_buf[mqtt_rx_len] = '\0';
        }

        // 한 줄 끝(일반적으로 \n 기준)이면 파싱
        if (ch == '\n') {
            ParseMqttLine(mqtt_rx_buf, mqtt_rx_len);
            mqtt_rx_len = 0;
            mqtt_rx_buf[0] = '\0';
        }
    }
}

// WizFi360 응답 버퍼 전체에서 "topic -> { json }" 형태의 구독 메시지를 찾아 처리
void MQTT_ProcessResponseBuffer(uint8_t *buf, uint16_t len)
{
    char line[256];
    uint16_t pos = 0;

    for (uint16_t i = 0; i < len; i++) {
        char c = (char)buf[i];

        // CR은 무시
        if (c == '\r') {
            continue;
        }

        // 줄 끝이거나 line 버퍼가 꽉 찬 경우
        if (c == '\n' || pos >= sizeof(line) - 1) {

            if (pos > 0) {
                line[pos] = '\0';

                // "->" 들어간 라인만 MQTT 메시지로 인정
                if (strstr(line, "->")) {
                    ParseMqttLine(line, strlen(line));
                }
            }

            pos = 0;
        }
        else {
            // 일반 문자는 line에 저장
            line[pos++] = c;
        }
    }

    // ★ 마지막 라인이 '\n' 없이 종료되었을 때 처리
    if (pos > 0) {
        line[pos] = '\0';
        if (strstr(line, "->")) {
            ParseMqttLine(line, strlen(line));
        }
    }
}

/*void ApplyManualControl(void)
{
    if (!g_powerOn) {
        // 전원 OFF면 무조건 정지
        stop_all_motors();
        return;
    }

    if (!g_modeManual) {
        // AUTO 모드에서는 수동 방향 명령 무시
        return;
    }

    // fanSpeed(0~3)를 PWM으로 단순 매핑 (원하는 대로 조정 가능)
    uint16_t pwm = 0;
    switch (g_fanSpeed) {
        case 0: pwm = 0;                break;
        case 1: pwm = BASE_SPEED / 2;   break;
        case 2: pwm = BASE_SPEED;       break;
        case 3: pwm = BASE_SPEED * 3 / 2; break;
    }

    if (strcmp(g_direction, "FWD") == 0) {
        move_forward_pwm(pwm);
    } else if (strcmp(g_direction, "BACK") == 0) {
        move_backward_pwm(pwm);
    } else if (strcmp(g_direction, "LEFT") == 0) {
        rotate_left_inplace(pwm);
    } else if (strcmp(g_direction, "RIGHT") == 0) {
        rotate_right_inplace(pwm);
    } else { // STOP 혹은 기타
        stop_all_motors();
    }
}*/

/* USER CODE END 0 */

int main(void)
{

  /* USER CODE BEGIN 1 */
//Putty 작동 테스트용 변수
   int countL, countR; //  엔코더 카운트 저장 변수
   char debug_msg[100]; // 디버깅 메시지 버퍼

  /* USER CODE END 1 */

  /* MCU Configuration--------------------------------------------------------*/

  /* Reset of all peripherals, Initializes the Flash interface and the Systick. */
  HAL_Init();

  /* Configure the system clock */
  SystemClock_Config();

  /* Initialize all configured peripherals */
  MX_GPIO_Init();
  MX_USART2_UART_Init();
  MX_TIM2_Init();
  MX_TIM1_Init();
  MX_TIM4_Init();
  MX_I2C1_Init();
  MX_USART3_UART_Init();
  MX_TIM3_Init();
  MX_TIM8_Init();
  /* USER CODE BEGIN 2 */
  // DWT 초기화 (마이크로초 측정을 위해 필수)
  DWT_Init();
  UART_Printf("STM32 HC-SR04 Measurement Ready (Trig: PA0, Echo: PA1)\r\n");

  motor_control_init(); // <- 반드시 호출 (PWM Start + 초기화)
  HAL_TIM_PWM_Start(&htim4, TIM_CHANNEL_1);

  //엔코더 카운팅 시작
  HAL_TIM_Encoder_Start(&htim3, TIM_CHANNEL_ALL);
  HAL_TIM_Encoder_Start(&htim8, TIM_CHANNEL_ALL);

  /* USER CODE END 2 */

  /* Infinite loop */
  /* USER CODE BEGIN WHILE */
  int failCount = 0;
  int tempAovoid = 0; // 0 = right, 1 = left

  char post_data_buffer[150]; //json 문자열 버퍼

//      ESP_Connect_WiFi("S24", "dial8787@@");
//
//      ESP_MQTT_Connect("stmClient", "broker.hivemq.com", 1883);
//
//      ESP_MQTT_Publish("stm32/test", "hello mqtt");

      // WiFi 연결 정보

////  MPU6050_Init();
//
//  float d1, d2, d3;
//  int16_t Ax, Ay, Az;
//  char buf[100];
//  // 1️⃣ Wi-Fi 연결
//     ESP_Init("YOUR_WIFI_SSID", "YOUR_WIFI_PASSWORD");
//     char value[64];  // 서버로부터 받은 값을 저장할 버퍼
//
//     // 2️⃣ GET 요청 및 값 파싱
//     if (ESP_HTTP_Get_Value("192.168.178.61", "/api/manual/speed", "fanSpeed", value))
//     {
//         char msg[128];
//         sprintf(msg, "fanSpeed value = %s\r\n", value);
//         Uart_sendstring(msg, &huart2);
//     }
//     else
//     {
//         Uart_sendstring("HTTP GET Failed\r\n", &huart2);
//     }
//
//  // POST
//  ESP_HTTP_Post("192.168.178.61", "/data", "{\"id\":1,\"value\":42}");
//
//  float distance1, distance2, distance3;

//  char *start_msg = "STM32 WizFi360 AT Test Start! (USART2 for PuTTY, USART1 for WizFi360)\r\n";
//  HAL_UART_Transmit(&huart2, (uint8_t *)start_msg, strlen(start_msg), HAL_MAX_DELAY);
//
//  // WizFi360 모듈 부팅 시간 대기 (필수)
//  char *boot_msg = "[INFO] Waiting 3 seconds for WizFi360 boot up...\r\n";
//  HAL_UART_Transmit(&huart2, (uint8_t *)boot_msg, strlen(boot_msg), HAL_MAX_DELAY);
//  HAL_Delay(3000);

  char *start_msg = "STM32 WizFi360 MQTT Test Start! (PuTTY=USART2, WizFi360=USART3)\r\n";
//  HAL_UART_Transmit(&huart2, (uint8_t *)start_msg, strlen(start_msg), HAL_MAX_DELAY);

  HAL_Delay(3000); // WizFi360 부팅 대기

//  Setup_WiFi_And_MQTT();

  MQTT_Init_All(&huart3, &huart2);   // Wiz: huart1, Terminal: huart2

  // JSON 텔레메트리 예시 publish
  const char *json =
      "{\"currentFloor\":\"Carpet\",\"fanSpeed\":3,"
      "\"position\":{\"x\":10,\"y\":5},"
      "\"sensor\":{\"x\":0.1,\"y\":0.2,\"z\":0.3}}";

  MQTT_PublishJSON(&huart3, &huart2, json, rx, sizeof(rx));

  uint32_t last_pub_tick = 0;

  while (1)
  {

      Publish_Message();
      HAL_Delay(100); // 5초마다 메시지 발행
      // 2) control 상태값에 따라 모터 제어
      //ApplyManualControl(); 이미 특정 변수에 값 넣는 거로 존재함.

      // 1) control 토픽에서 들어온 메시지 처리
//      MQTT_ProcessIncoming(); // 여기서 다 받고 이 함수 안에서 받은 거를 parse함수로 넘김
      // parse에서는 json형태의 값을 topic과 payload로 분리함.
      // 파싱 후 hadler함수를 호출하여 받은 topic를 비교해 해당 토픽 if문에 payload를 반영한 변수 값 갱심

      // 3) 일정 주기로 telemetry publish (예: 2초)  // 이미 위에서 publish_Message하고 HAL_DELAY2초 걸어둬서 우선 주석
      /*uint32_t now = HAL_GetTick();
           if (now - last_pub_tick >= 2000) {
                Publish_Message();
             last_pub_tick = now;
           }

      HAL_Delay(10);*/  // 너무 빡세지 않게 약간 쉬게

//       // 1. WizFi360 연결 확인 (응답: OK)
//       Send_AT_Command(&huart3, &huart2, "AT", wizfi_rx_buffer, WIZFI360_MAX_RESPONSE_SIZE, 1000);
//       HAL_Delay(3000); // 다음 명령 전송까지 3초 대기
//
//       // 2. 펌웨어 버전 정보 요청 (응답: AT+GMR, OK)
//       Send_AT_Command(&huart3, &huart2, "AT+GMR", wizfi_rx_buffer, WIZFI360_MAX_RESPONSE_SIZE, 1000);
//       HAL_Delay(3000);
//
//       // 3. Wi-Fi 모드 확인 (응답: AT+CWMODE_CUR=1/2/3, OK)
//       Send_AT_Command(&huart3, &huart2, "AT+CWMODE_CUR?", wizfi_rx_buffer, WIZFI360_MAX_RESPONSE_SIZE, 1000);
//       HAL_Delay(3000);
//
//       char *loop_end = "\r\n[INFO] AT Command sequence finished. Repeating in 10s...\r\n";
//       HAL_UART_Transmit(&huart2, (uint8_t *)loop_end, strlen(loop_end), HAL_MAX_DELAY);
//       HAL_Delay(10000); // 모든 명령 후 10초 대기

          //x,y 좌표 확인 Putty 테스트 코드2
          // main 함수 시작부분의 Putty 작동 테스트용 변수와 이하 코드 주석 해제한 후,
          // 이외 while (1) 내용 주석처리 하면 Putty 테스트 가능합니다.
         // 1. 오도메트리 업데이트 (현재 X, Y, Yaw 계산)
//         update_odometry();

         // 2. 시리얼 포트로 X, Y 좌표 출력 (테스트용)
         // float 값을 소수점 두 자리까지 출력하여 정확도를 확인합니다.
//         sprintf(debug_msg, "X: %.2f | Y: %.2f | Yaw: %.1f\r\n",
//                 g_robot_x, g_robot_y, g_robot_yaw);
//         UART_Printf(debug_msg);
//         HAL_Delay(100); // ms마다 업데이트 확인

//               //실제 사용할 2D Mapping 좌표전송 코드 (통신구축 완료 후 수정필요)
//             HAL_Delay(5000);  // 5초마다 재요청 가능
//             ESP_HTTP_Get_Value("192.168.178.61", "/api/manual/speed", "fanSpeed", value);
//
//             char msg[128];
//             sprintf(msg, "fanSpeed = %s\r\n", value);
//             Uart_sendstring(msg, &huart2);
//
//             // 1. 오도메트리 업데이트 (좌표 계산)
//                 update_odometry();
//
//             // 2. 백엔드로 보낼 JSON 데이터 생성
//                 int x_int = (int)roundf(g_robot_x);
//                 int y_int = (int)roundf(g_robot_y);
//
//             // JSON 형식으로 포맷팅
//                 sprintf(post_data_buffer,
//                         "{\"robotId\":1,\"x\":%d,\"y\":%d}",
//                         x_int, y_int);
//
//             // 3. POST 요청으로 서버에 데이터 전송
//                 ESP_HTTP_Post("192.168.178.61", "/api/robot/location", post_data_buffer);
//
//             // 4. 전송 주기 설정
//                 HAL_Delay(100); // 100ms (0.1초) 주기로 전송

//     MPU6050_Read_Accel(&Ax, &Ay, &Az);
//
//         // g 단위 변환
//         float ax_g = Ax / 16384.0f;
//         float ay_g = Ay / 16384.0f;
//         float az_g = Az / 16384.0f;
//
//         // Roll / Pitch 계산
//         float roll  = atan2f(ay_g, az_g) * 180.0f / 3.14159265f;
//         float pitch = atan2f(-ax_g, sqrtf(ay_g*ay_g + az_g*az_g)) * 180.0f / 3.14159265f;
//
//         // UART로 출력
//         char buf[100];
//         sprintf(buf, "Roll: %.2f  Pitch: %.2f\r\n", roll, pitch);
//         HAL_UART_Transmit(&huart2, (uint8_t*)buf, strlen(buf), 1000);
//
//         HAL_Delay(500);
//      //전진 유지
//     move_forward_pwm(BASE_SPEED);
//
//         d1 = HCSR04_Read(TRIG_PORT, TRIG_PIN, ECHO_PORT, ECHO_PIN);
//         DWT_Delay_us(5000);
//         d2 = HCSR04_Read(TRIG_PORT1, TRIG_PIN1, ECHO_PORT1, ECHO_PIN1);
//         DWT_Delay_us(5000);
//         d3 = HCSR04_Read(TRIG_PORT2, TRIG_PIN2, ECHO_PORT2, ECHO_PIN2);
//
//         UART_Printf("S1: %.1f cm | S2: %.1f cm | S3: %.1f cm\r\n", d1, d2, d3);
//
//         // 센서값 모두 0이면 일시적인 에러로 간주
//         if ((d1 > 1 && d1 <= WALL_DISTANCE_THRESHOLD)
//                   || (d2 > 1 && d2 <= WALL_DISTANCE_THRESHOLD)
//                   || (d3 > 1 && d3 <= WALL_DISTANCE_THRESHOLD)) {
//             failCount++;
//             if (failCount > 5) { // 연속 3회 이상이면 진짜 장애물일 수도 있음
//                 stop_all_motors();
//                 HAL_Delay(50);
//                 if(tempAovoid == 0){
//                    R_avoidance_sequence();
//                    tempAovoid = 1;
//                 }
//                 else{
//                    L_avoidance_sequence();
//                    tempAovoid = 0;
//
//                 }
//                 failCount = 0;
//             }
//         } else {
//             failCount = 0;
//         }
//
//
//         HAL_Delay(100);
//
//

     /* USER CODE BEGIN WHILE */

//      모터 c 전진 2s
//         set_motor_direction(MOTOR_C, FORWARD);
//
//         set_motor_speed(MOTOR_C, 900);
//
//         HAL_Delay(3000);
//
//         set_motor_speed(MOTOR_C, 0);
//         HAL_Delay(500);
//
//      모터 A 전진 2s
//         set_motor_direction(MOTOR_A, FORWARD);
//         set_motor_direction(MOTOR_B, FORWARD);
//
//         set_motor_speed(MOTOR_A, 400);
//         set_motor_speed(MOTOR_B, 400);
//
//         HAL_Delay(1000);
//
//         set_motor_speed(MOTOR_A, 0);
//         HAL_Delay(500);
//
//         // 모터 A 후진 2s
//         set_motor_direction(MOTOR_A, BACKWARD);
//         set_motor_direction(MOTOR_B, BACKWARD);
//
//         set_motor_speed(MOTOR_A, 400);
//         set_motor_speed(MOTOR_B, 400);
//
//         HAL_Delay(1000);
//
//         set_motor_speed(MOTOR_A, 0);
//         set_motor_speed(MOTOR_B, 0);
//
//         HAL_Delay(1000);
//
//      센서 1에서 거리 읽기
//         distance1 = HCSR04_Read(TRIG_PORT, TRIG_PIN, ECHO_PORT, ECHO_PIN);
//
//         // 센서 2에서 거리 읽기
//         distance2 = HCSR04_Read(TRIG_PORT1, TRIG_PIN1, ECHO_PORT1, ECHO_PIN1);
//
//         // 센서 2에서 거리 읽기
//         distance3 = HCSR04_Read(TRIG_PORT2, TRIG_PIN2, ECHO_PORT2, ECHO_PIN2);
//
//         // 결과 출력
//         if (distance1 > 0)
//             UART_Printf("S1: %.2f cm  ", distance1);
//         else
//             UART_Printf("S1: Fail  ");
//
//         if (distance2 > 0)
//             UART_Printf("S2: %.2f cm  ", distance2);
//         else
//             UART_Printf("S2: Fail\r\n");
//
//         if (distance3 > 0)
//                      UART_Printf("S3: %.2f cm\r\n", distance3);
//                  else
//                      UART_Printf("S3: Fail\r\n");
//
//         HAL_Delay(500);
    /* USER CODE END WHILE */

  }
}

void SystemClock_Config(void)
{
  RCC_OscInitTypeDef RCC_OscInitStruct = {0};
  RCC_ClkInitTypeDef RCC_ClkInitStruct = {0};

  /** Configure the main internal regulator output voltage
  */
  __HAL_RCC_PWR_CLK_ENABLE();
  __HAL_PWR_VOLTAGESCALING_CONFIG(PWR_REGULATOR_VOLTAGE_SCALE3);

  /** Initializes the RCC Oscillators according to the specified parameters
  * in the RCC_OscInitTypeDef structure.
  */
  RCC_OscInitStruct.OscillatorType = RCC_OSCILLATORTYPE_HSI;
  RCC_OscInitStruct.HSIState = RCC_HSI_ON;
  RCC_OscInitStruct.HSICalibrationValue = RCC_HSICALIBRATION_DEFAULT;
  RCC_OscInitStruct.PLL.PLLState = RCC_PLL_ON;
  RCC_OscInitStruct.PLL.PLLSource = RCC_PLLSOURCE_HSI;
  RCC_OscInitStruct.PLL.PLLM = 8;
  RCC_OscInitStruct.PLL.PLLN = 50;
  RCC_OscInitStruct.PLL.PLLP = RCC_PLLP_DIV2;
  RCC_OscInitStruct.PLL.PLLQ = 2;
  RCC_OscInitStruct.PLL.PLLR = 2;
  if (HAL_RCC_OscConfig(&RCC_OscInitStruct) != HAL_OK)
  {
    Error_Handler();
  }

  /** Initializes the CPU, AHB and APB buses clocks
  */
  RCC_ClkInitStruct.ClockType = RCC_CLOCKTYPE_HCLK|RCC_CLOCKTYPE_SYSCLK
                              |RCC_CLOCKTYPE_PCLK1|RCC_CLOCKTYPE_PCLK2;
  RCC_ClkInitStruct.SYSCLKSource = RCC_SYSCLKSOURCE_PLLCLK;
  RCC_ClkInitStruct.AHBCLKDivider = RCC_SYSCLK_DIV1;
  RCC_ClkInitStruct.APB1CLKDivider = RCC_HCLK_DIV2;
  RCC_ClkInitStruct.APB2CLKDivider = RCC_HCLK_DIV1;

  if (HAL_RCC_ClockConfig(&RCC_ClkInitStruct, FLASH_LATENCY_1) != HAL_OK)
  {
    Error_Handler();
  }
}

static void MX_I2C1_Init(void)
{

  hi2c1.Instance = I2C1;
  hi2c1.Init.ClockSpeed = 100000;
  hi2c1.Init.DutyCycle = I2C_DUTYCYCLE_2;
  hi2c1.Init.OwnAddress1 = 0;
  hi2c1.Init.AddressingMode = I2C_ADDRESSINGMODE_7BIT;
  hi2c1.Init.DualAddressMode = I2C_DUALADDRESS_DISABLE;
  hi2c1.Init.OwnAddress2 = 0;
  hi2c1.Init.GeneralCallMode = I2C_GENERALCALL_DISABLE;
  hi2c1.Init.NoStretchMode = I2C_NOSTRETCH_DISABLE;
  if (HAL_I2C_Init(&hi2c1) != HAL_OK)
  {
    Error_Handler();
  }

}

static void MX_TIM1_Init(void)
{

  TIM_ClockConfigTypeDef sClockSourceConfig = {0};
  TIM_MasterConfigTypeDef sMasterConfig = {0};
  TIM_OC_InitTypeDef sConfigOC = {0};
  TIM_BreakDeadTimeConfigTypeDef sBreakDeadTimeConfig = {0};

  htim1.Instance = TIM1;
  htim1.Init.Prescaler = 84-1;
  htim1.Init.CounterMode = TIM_COUNTERMODE_UP;
  htim1.Init.Period = 999;
  htim1.Init.ClockDivision = TIM_CLOCKDIVISION_DIV1;
  htim1.Init.RepetitionCounter = 0;
  htim1.Init.AutoReloadPreload = TIM_AUTORELOAD_PRELOAD_DISABLE;
  if (HAL_TIM_Base_Init(&htim1) != HAL_OK)
  {
    Error_Handler();
  }
  sClockSourceConfig.ClockSource = TIM_CLOCKSOURCE_INTERNAL;
  if (HAL_TIM_ConfigClockSource(&htim1, &sClockSourceConfig) != HAL_OK)
  {
    Error_Handler();
  }
  if (HAL_TIM_PWM_Init(&htim1) != HAL_OK)
  {
    Error_Handler();
  }
  sMasterConfig.MasterOutputTrigger = TIM_TRGO_RESET;
  sMasterConfig.MasterSlaveMode = TIM_MASTERSLAVEMODE_DISABLE;
  if (HAL_TIMEx_MasterConfigSynchronization(&htim1, &sMasterConfig) != HAL_OK)
  {
    Error_Handler();
  }
  sConfigOC.OCMode = TIM_OCMODE_PWM1;
  sConfigOC.Pulse = 0;
  sConfigOC.OCPolarity = TIM_OCPOLARITY_HIGH;
  sConfigOC.OCNPolarity = TIM_OCNPOLARITY_HIGH;
  sConfigOC.OCFastMode = TIM_OCFAST_DISABLE;
  sConfigOC.OCIdleState = TIM_OCIDLESTATE_RESET;
  sConfigOC.OCNIdleState = TIM_OCNIDLESTATE_RESET;
  if (HAL_TIM_PWM_ConfigChannel(&htim1, &sConfigOC, TIM_CHANNEL_1) != HAL_OK)
  {
    Error_Handler();
  }
  if (HAL_TIM_PWM_ConfigChannel(&htim1, &sConfigOC, TIM_CHANNEL_2) != HAL_OK)
  {
    Error_Handler();
  }
  sBreakDeadTimeConfig.OffStateRunMode = TIM_OSSR_DISABLE;
  sBreakDeadTimeConfig.OffStateIDLEMode = TIM_OSSI_DISABLE;
  sBreakDeadTimeConfig.LockLevel = TIM_LOCKLEVEL_OFF;
  sBreakDeadTimeConfig.DeadTime = 0;
  sBreakDeadTimeConfig.BreakState = TIM_BREAK_DISABLE;
  sBreakDeadTimeConfig.BreakPolarity = TIM_BREAKPOLARITY_HIGH;
  sBreakDeadTimeConfig.AutomaticOutput = TIM_AUTOMATICOUTPUT_DISABLE;
  if (HAL_TIMEx_ConfigBreakDeadTime(&htim1, &sBreakDeadTimeConfig) != HAL_OK)
  {
    Error_Handler();
  }
  HAL_TIM_MspPostInit(&htim1);

}

static void MX_TIM2_Init(void)
{

  TIM_ClockConfigTypeDef sClockSourceConfig = {0};
  TIM_MasterConfigTypeDef sMasterConfig = {0};
  TIM_IC_InitTypeDef sConfigIC = {0};

  htim2.Instance = TIM2;
  htim2.Init.Prescaler = 84-1;
  htim2.Init.CounterMode = TIM_COUNTERMODE_UP;
  htim2.Init.Period = 65535;
  htim2.Init.ClockDivision = TIM_CLOCKDIVISION_DIV1;
  htim2.Init.AutoReloadPreload = TIM_AUTORELOAD_PRELOAD_DISABLE;
  if (HAL_TIM_Base_Init(&htim2) != HAL_OK)
  {
    Error_Handler();
  }
  sClockSourceConfig.ClockSource = TIM_CLOCKSOURCE_INTERNAL;
  if (HAL_TIM_ConfigClockSource(&htim2, &sClockSourceConfig) != HAL_OK)
  {
    Error_Handler();
  }
  if (HAL_TIM_IC_Init(&htim2) != HAL_OK)
  {
    Error_Handler();
  }
  sMasterConfig.MasterOutputTrigger = TIM_TRGO_RESET;
  sMasterConfig.MasterSlaveMode = TIM_MASTERSLAVEMODE_DISABLE;
  if (HAL_TIMEx_MasterConfigSynchronization(&htim2, &sMasterConfig) != HAL_OK)
  {
    Error_Handler();
  }
  sConfigIC.ICPolarity = TIM_INPUTCHANNELPOLARITY_RISING;
  sConfigIC.ICSelection = TIM_ICSELECTION_DIRECTTI;
  sConfigIC.ICPrescaler = TIM_ICPSC_DIV1;
  sConfigIC.ICFilter = 0;
  if (HAL_TIM_IC_ConfigChannel(&htim2, &sConfigIC, TIM_CHANNEL_1) != HAL_OK)
  {
    Error_Handler();
  }
  if (HAL_TIM_IC_ConfigChannel(&htim2, &sConfigIC, TIM_CHANNEL_2) != HAL_OK)
  {
    Error_Handler();
  }
  if (HAL_TIM_IC_ConfigChannel(&htim2, &sConfigIC, TIM_CHANNEL_3) != HAL_OK)
  {
    Error_Handler();
  }

}

static void MX_TIM3_Init(void)
{

  TIM_Encoder_InitTypeDef sConfig = {0};
  TIM_MasterConfigTypeDef sMasterConfig = {0};

  htim3.Instance = TIM3;
  htim3.Init.Prescaler = 0;
  htim3.Init.CounterMode = TIM_COUNTERMODE_UP;
  htim3.Init.Period = 65535;
  htim3.Init.ClockDivision = TIM_CLOCKDIVISION_DIV1;
  htim3.Init.AutoReloadPreload = TIM_AUTORELOAD_PRELOAD_DISABLE;
  sConfig.EncoderMode = TIM_ENCODERMODE_TI1;
  sConfig.IC1Polarity = TIM_ICPOLARITY_RISING;
  sConfig.IC1Selection = TIM_ICSELECTION_DIRECTTI;
  sConfig.IC1Prescaler = TIM_ICPSC_DIV1;
  sConfig.IC1Filter = 0;
  sConfig.IC2Polarity = TIM_ICPOLARITY_RISING;
  sConfig.IC2Selection = TIM_ICSELECTION_DIRECTTI;
  sConfig.IC2Prescaler = TIM_ICPSC_DIV1;
  sConfig.IC2Filter = 0;
  if (HAL_TIM_Encoder_Init(&htim3, &sConfig) != HAL_OK)
  {
    Error_Handler();
  }
  sMasterConfig.MasterOutputTrigger = TIM_TRGO_RESET;
  sMasterConfig.MasterSlaveMode = TIM_MASTERSLAVEMODE_DISABLE;
  if (HAL_TIMEx_MasterConfigSynchronization(&htim3, &sMasterConfig) != HAL_OK)
  {
    Error_Handler();
  }

}

static void MX_TIM4_Init(void)
{

  TIM_MasterConfigTypeDef sMasterConfig = {0};
  TIM_OC_InitTypeDef sConfigOC = {0};

  htim4.Instance = TIM4;
  htim4.Init.Prescaler = 84-1;
  htim4.Init.CounterMode = TIM_COUNTERMODE_UP;
  htim4.Init.Period = 65535;
  htim4.Init.ClockDivision = TIM_CLOCKDIVISION_DIV1;
  htim4.Init.AutoReloadPreload = TIM_AUTORELOAD_PRELOAD_DISABLE;
  if (HAL_TIM_PWM_Init(&htim4) != HAL_OK)
  {
    Error_Handler();
  }
  sMasterConfig.MasterOutputTrigger = TIM_TRGO_RESET;
  sMasterConfig.MasterSlaveMode = TIM_MASTERSLAVEMODE_DISABLE;
  if (HAL_TIMEx_MasterConfigSynchronization(&htim4, &sMasterConfig) != HAL_OK)
  {
    Error_Handler();
  }
  sConfigOC.OCMode = TIM_OCMODE_PWM1;
  sConfigOC.Pulse = 0;
  sConfigOC.OCPolarity = TIM_OCPOLARITY_HIGH;
  sConfigOC.OCFastMode = TIM_OCFAST_DISABLE;
  if (HAL_TIM_PWM_ConfigChannel(&htim4, &sConfigOC, TIM_CHANNEL_2) != HAL_OK)
  {
    Error_Handler();
  }
  HAL_TIM_MspPostInit(&htim4);

}

static void MX_TIM8_Init(void)
{

  TIM_Encoder_InitTypeDef sConfig = {0};
  TIM_MasterConfigTypeDef sMasterConfig = {0};

  htim8.Instance = TIM8;
  htim8.Init.Prescaler = 0;
  htim8.Init.CounterMode = TIM_COUNTERMODE_UP;
  htim8.Init.Period = 65535;
  htim8.Init.ClockDivision = TIM_CLOCKDIVISION_DIV1;
  htim8.Init.RepetitionCounter = 0;
  htim8.Init.AutoReloadPreload = TIM_AUTORELOAD_PRELOAD_DISABLE;
  sConfig.EncoderMode = TIM_ENCODERMODE_TI1;
  sConfig.IC1Polarity = TIM_ICPOLARITY_RISING;
  sConfig.IC1Selection = TIM_ICSELECTION_DIRECTTI;
  sConfig.IC1Prescaler = TIM_ICPSC_DIV1;
  sConfig.IC1Filter = 0;
  sConfig.IC2Polarity = TIM_ICPOLARITY_RISING;
  sConfig.IC2Selection = TIM_ICSELECTION_DIRECTTI;
  sConfig.IC2Prescaler = TIM_ICPSC_DIV1;
  sConfig.IC2Filter = 0;
  if (HAL_TIM_Encoder_Init(&htim8, &sConfig) != HAL_OK)
  {
    Error_Handler();
  }
  sMasterConfig.MasterOutputTrigger = TIM_TRGO_RESET;
  sMasterConfig.MasterSlaveMode = TIM_MASTERSLAVEMODE_DISABLE;
  if (HAL_TIMEx_MasterConfigSynchronization(&htim8, &sMasterConfig) != HAL_OK)
  {
    Error_Handler();
  }

}

static void MX_USART2_UART_Init(void)
{

  huart2.Instance = USART2;
  huart2.Init.BaudRate = 115200;
  huart2.Init.WordLength = UART_WORDLENGTH_8B;
  huart2.Init.StopBits = UART_STOPBITS_1;
  huart2.Init.Parity = UART_PARITY_NONE;
  huart2.Init.Mode = UART_MODE_TX_RX;
  huart2.Init.HwFlowCtl = UART_HWCONTROL_NONE;
  huart2.Init.OverSampling = UART_OVERSAMPLING_16;
  if (HAL_UART_Init(&huart2) != HAL_OK)
  {
    Error_Handler();
  }

}

static void MX_USART3_UART_Init(void)
{

  huart3.Instance = USART3;
  huart3.Init.BaudRate = 115200;
  huart3.Init.WordLength = UART_WORDLENGTH_8B;
  huart3.Init.StopBits = UART_STOPBITS_1;
  huart3.Init.Parity = UART_PARITY_NONE;
  huart3.Init.Mode = UART_MODE_TX_RX;
  huart3.Init.HwFlowCtl = UART_HWCONTROL_NONE;
  huart3.Init.OverSampling = UART_OVERSAMPLING_16;
  if (HAL_UART_Init(&huart3) != HAL_OK)
  {
    Error_Handler();
  }

}

static void MX_GPIO_Init(void)
{
  GPIO_InitTypeDef GPIO_InitStruct = {0};

  /* GPIO Ports Clock Enable */
  __HAL_RCC_GPIOC_CLK_ENABLE();
  __HAL_RCC_GPIOH_CLK_ENABLE();
  __HAL_RCC_GPIOA_CLK_ENABLE();
  __HAL_RCC_GPIOB_CLK_ENABLE();

  /*Configure GPIO pin Output Level */
  HAL_GPIO_WritePin(GPIOC, GPIO_PIN_0|GPIO_PIN_1|GPIO_PIN_2|GPIO_PIN_3
                          |GPIO_PIN_4|GPIO_PIN_5, GPIO_PIN_RESET);

  /*Configure GPIO pin Output Level */
  HAL_GPIO_WritePin(GPIOA, GPIO_PIN_0, GPIO_PIN_RESET);

  /*Configure GPIO pin Output Level */
  HAL_GPIO_WritePin(GPIOB, GPIO_PIN_0|GPIO_PIN_1|GPIO_PIN_2|GPIO_PIN_12, GPIO_PIN_RESET);

  /*Configure GPIO pin : B1_Pin */
  GPIO_InitStruct.Pin = B1_Pin;
  GPIO_InitStruct.Mode = GPIO_MODE_IT_FALLING;
  GPIO_InitStruct.Pull = GPIO_NOPULL;
  HAL_GPIO_Init(B1_GPIO_Port, &GPIO_InitStruct);

  /*Configure GPIO pins : PC0 PC1 PC2 PC3
                           PC4 PC5 */
  GPIO_InitStruct.Pin = GPIO_PIN_0|GPIO_PIN_1|GPIO_PIN_2|GPIO_PIN_3
                          |GPIO_PIN_4|GPIO_PIN_5;
  GPIO_InitStruct.Mode = GPIO_MODE_OUTPUT_PP;
  GPIO_InitStruct.Pull = GPIO_NOPULL;
  GPIO_InitStruct.Speed = GPIO_SPEED_FREQ_LOW;
  HAL_GPIO_Init(GPIOC, &GPIO_InitStruct);

  /*Configure GPIO pin : PA0 */
  GPIO_InitStruct.Pin = GPIO_PIN_0;
  GPIO_InitStruct.Mode = GPIO_MODE_OUTPUT_PP;
  GPIO_InitStruct.Pull = GPIO_NOPULL;
  GPIO_InitStruct.Speed = GPIO_SPEED_FREQ_LOW;
  HAL_GPIO_Init(GPIOA, &GPIO_InitStruct);

  /*Configure GPIO pins : PB0 PB1 PB2 PB12 */
  GPIO_InitStruct.Pin = GPIO_PIN_0|GPIO_PIN_1|GPIO_PIN_2|GPIO_PIN_12;
  GPIO_InitStruct.Mode = GPIO_MODE_OUTPUT_PP;
  GPIO_InitStruct.Pull = GPIO_NOPULL;
  GPIO_InitStruct.Speed = GPIO_SPEED_FREQ_LOW;
  HAL_GPIO_Init(GPIOB, &GPIO_InitStruct);

  /* USER CODE BEGIN MX_GPIO_Init_2 */
  // PA0 (Trig) Output 설정
  GPIO_InitStruct.Pin = TRIG_PIN; // PA0
  GPIO_InitStruct.Mode = GPIO_MODE_OUTPUT_PP;
  GPIO_InitStruct.Pull = GPIO_NOPULL;
  GPIO_InitStruct.Speed = GPIO_SPEED_FREQ_HIGH;
  HAL_GPIO_Init(TRIG_PORT, &GPIO_InitStruct);

  // PA1 (Echo) Input 설정
  GPIO_InitStruct.Pin = ECHO_PIN; // PA1
  GPIO_InitStruct.Mode = GPIO_MODE_INPUT;
  GPIO_InitStruct.Pull = GPIO_NOPULL; // HC-SR04는 보통 풀업/풀다운 불필요
  HAL_GPIO_Init(ECHO_PORT, &GPIO_InitStruct);

  // S2: PC1 (TRIG), PA15 (ECHO)
  GPIO_InitStruct.Pin = TRIG_PIN1; // PC1
  GPIO_InitStruct.Mode = GPIO_MODE_OUTPUT_PP;
  GPIO_InitStruct.Pull = GPIO_NOPULL;
  GPIO_InitStruct.Speed = GPIO_SPEED_FREQ_HIGH;
  HAL_GPIO_Init(TRIG_PORT1, &GPIO_InitStruct);

  GPIO_InitStruct.Pin = ECHO_PIN1; // PA15
  GPIO_InitStruct.Mode = GPIO_MODE_INPUT;
  GPIO_InitStruct.Pull = GPIO_NOPULL;
  HAL_GPIO_Init(ECHO_PORT1, &GPIO_InitStruct);

  /* USER CODE END MX_GPIO_Init_2 */
}

void Error_Handler(void)
{
  __disable_irq();
  while (1)
  {
  }
}
